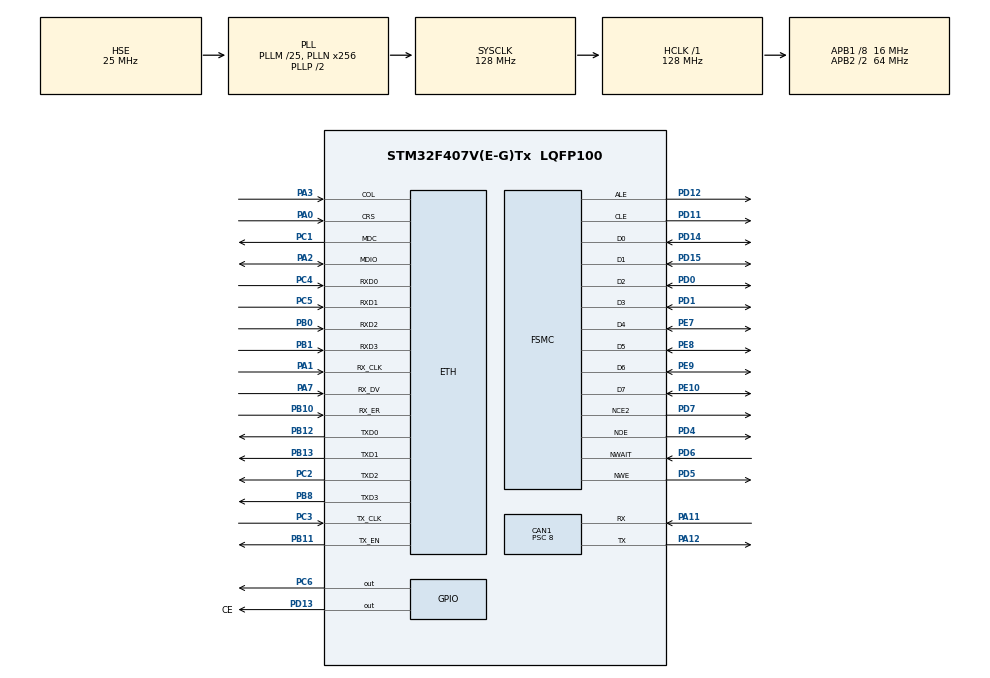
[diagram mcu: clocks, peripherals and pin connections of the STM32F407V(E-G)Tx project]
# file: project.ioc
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CAN1.BS1=CAN_BS1_13TQ
CAN1.BS2=CAN_BS2_2TQ
CAN1.CalculateTimeQuantum=500.0
CAN1.Mode=CAN_MODE_NORMAL
CAN1.NART=DISABLE
CAN1.Prescaler=8
ETH.AutoNegotiation=ETH_AUTONEGOTIATION_DISABLE
ETH.DuplexMode=ETH_MODE_HALFDUPLEX
ETH.MediaInterface=ETH_MEDIA_INTERFACE_MII
ETH.PHY_DUPLEX_STATUS=0x0010
ETH.PHY_Name_MII=userPHY
ETH.PHY_SPEED_STATUS=0x0004
ETH.PHY_SR=0x1F
ETH.PhyAddress=1
ETH.Speed=ETH_SPEED_10M
FREERTOS.Tasks01=defaultTask,0,256,StartDefaultTask,Default,NULL,Dynamic,NULL,NULL;canTask,-3,512,StartCanTask,Default,NULL,Dynamic,NULL,NULL
FREERTOS.configTOTAL_HEAP_SIZE=32768
FSMC.AttributeSpaceHiZSetupTime1=0x1
FSMC.AttributeSpaceHoldSetupTime1=0x2
FSMC.AttributeSpaceSetupTime1=0x1
FSMC.AttributeSpaceWaitSetupTime1=0x3
FSMC.CommonSpaceHiZSetupTime1=0x1
FSMC.CommonSpaceHoldSetupTime1=0x2
FSMC.CommonSpaceSetupTime1=0x1
FSMC.CommonSpaceWaitSetupTime1=0x3
FSMC.ECCPageSize1=FSMC_NAND_ECC_PAGE_SIZE_512BYTE
FSMC.NandBlockNbr1=0x400
FSMC.NandBlockSize1=0x40
FSMC.NandPageSize1=0x800
FSMC.NandSpareAreaSize1=0x40
LWIP.GATEWAY_ADDRESS=192.168.005.001
LWIP.IP_ADDRESS=192.168.005.085
LWIP.LWIP_DHCP=0
LWIP.LWIP_TCP=0
LWIP.MEMP_NUM_PBUF=24
LWIP.MEMP_NUM_TCP_PCB=1
LWIP.MEMP_NUM_TCP_PCB_LISTEN=1
LWIP.MEMP_NUM_TCP_SEG=4
LWIP.MEMP_NUM_UDP_PCB=6
LWIP.MEM_SIZE=10000
LWIP.NETMASK_ADDRESS=255.255.255.000
LWIP.Version=v2.0.3_Cube
Mcu.Family=STM32F4
Mcu.Name=STM32F407V(E-G)Tx
Mcu.Package=LQFP100
NVIC.CAN1_RX0_IRQn=true\:5\:0\:true\:false\:true\:true\:true
NVIC.ETH_IRQn=true\:5\:0\:true\:false\:true\:true\:false
NVIC.PriorityGroup=NVIC_PRIORITYGROUP_4
NVIC.TIM1_UP_TIM10_IRQn=true\:0\:0\:false\:false\:true\:false\:false
NVIC.TimeBase=TIM1_UP_TIM10_IRQn
NVIC.TimeBaseIP=TIM1
PA0-WKUP.Mode=MII
PA0-WKUP.Signal=ETH_CRS
PA1.Mode=MII
PA1.Signal=ETH_RX_CLK
PA11.GPIO_PuPd=GPIO_PULLUP
PA11.Mode=Master
PA11.Signal=CAN1_RX
PA12.Mode=Master
PA12.Signal=CAN1_TX
PA2.Mode=MII
PA2.Signal=ETH_MDIO
PA3.Mode=MII
PA3.Signal=ETH_COL
PA7.Mode=MII
PA7.Signal=ETH_RX_DV
PB0.Mode=MII
PB0.Signal=ETH_RXD2
PB1.Mode=MII
PB1.Signal=ETH_RXD3
PB10.Mode=Activate Rx Err signal
PB10.Signal=ETH_RX_ER
PB11.Mode=MII
PB11.Signal=ETH_TX_EN
PB12.Mode=MII
PB12.Signal=ETH_TXD0
PB13.Mode=MII
PB13.Signal=ETH_TXD1
PB8.Mode=MII
PB8.Signal=ETH_TXD3
PC1.Mode=MII
PC1.Signal=ETH_MDC
PC14-OSC32_IN.Mode=LSE-External-Oscillator
PC14-OSC32_IN.Signal=RCC_OSC32_IN
PC15-OSC32_OUT.Mode=LSE-External-Oscillator
PC15-OSC32_OUT.Signal=RCC_OSC32_OUT
PC2.Mode=MII
PC2.Signal=ETH_TXD2
PC3.Mode=MII
PC3.Signal=ETH_TX_CLK
PC4.Mode=MII
PC4.Signal=ETH_RXD0
PC5.Mode=MII
PC5.Signal=ETH_RXD1
PC6.Signal=GPIO_Output
PD0.GPIO_PuPd=GPIO_PULLUP
PD0.Mode=8b-dmux1
PD0.Signal=FSMC_D2
PD1.GPIO_PuPd=GPIO_PULLUP
PD1.Mode=8b-dmux1
PD1.Signal=FSMC_D3
PD11.GPIO_PuPd=GPIO_PULLUP
PD11.Mode=8b-dmux1
PD11.Signal=FSMC_CLE
PD12.GPIO_PuPd=GPIO_PULLUP
PD12.Mode=8b-dmux1
PD12.Signal=FSMC_ALE
PD13.GPIO_Label=CE
PD13.GPIO_PuPd=GPIO_PULLUP
PD13.Signal=GPIO_Output
PD14.GPIO_PuPd=GPIO_PULLUP
PD14.Mode=8b-dmux1
PD14.Signal=FSMC_D0
PD15.GPIO_PuPd=GPIO_PULLUP
PD15.Mode=8b-dmux1
PD15.Signal=FSMC_D1
PD4.GPIO_PuPd=GPIO_PULLUP
PD4.Mode=8b-dmux1
PD4.Signal=FSMC_NOE
PD5.GPIO_PuPd=GPIO_PULLUP
PD5.Mode=8b-dmux1
PD5.Signal=FSMC_NWE
PD6.GPIO_PuPd=GPIO_PULLUP
PD6.Mode=Wait1
PD6.Signal=FSMC_NWAIT
PD7.GPIO_PuPd=GPIO_PULLUP
PD7.Mode=NandChipSelect2_1
PD7.Signal=FSMC_NCE2
PE10.GPIO_PuPd=GPIO_PULLUP
PE10.Mode=8b-dmux1
PE10.Signal=FSMC_D7
PE7.GPIO_PuPd=GPIO_PULLUP
PE7.Mode=8b-dmux1
PE7.Signal=FSMC_D4
PE8.GPIO_PuPd=GPIO_PULLUP
PE8.Mode=8b-dmux1
PE8.Signal=FSMC_D5
PE9.GPIO_PuPd=GPIO_PULLUP
PE9.Mode=8b-dmux1
PE9.Signal=FSMC_D6
PH0-OSC_IN.Mode=HSE-External-Oscillator
PH0-OSC_IN.Signal=RCC_OSC_IN
PH1-OSC_OUT.Mode=HSE-External-Oscillator
PH1-OSC_OUT.Signal=RCC_OSC_OUT
ProjectManager.HeapSize=0x2000
ProjectManager.StackSize=0x4000
ProjectManager.TargetToolchain=TrueSTUDIO
RCC.48MHZClocksFreq_Value=64000000
RCC.AHBFreq_Value=128000000
RCC.APB1CLKDivider=RCC_HCLK_DIV8
RCC.APB1Freq_Value=16000000
RCC.APB1TimFreq_Value=32000000
RCC.APB2CLKDivider=RCC_HCLK_DIV2
RCC.APB2Freq_Value=64000000
RCC.APB2TimFreq_Value=128000000
RCC.CortexFreq_Value=128000000
RCC.HCLKFreq_Value=128000000
RCC.HSE_VALUE=25000000
RCC.HSI_VALUE=16000000
RCC.PLLM=25
RCC.PLLN=256
RCC.PLLSourceVirtual=RCC_PLLSOURCE_HSE
RCC.RCC_RTC_Clock_Source=RCC_RTCCLKSOURCE_LSE
RCC.RCC_RTC_Clock_SourceVirtual=RCC_RTCCLKSOURCE_HSE_DIV25
RCC.RCC_RTC_Clock_Source_FROM_HSE=RCC_RTCCLKSOURCE_HSE_DIV25
RCC.SYSCLKFreq_VALUE=128000000
RCC.SYSCLKSource=RCC_SYSCLKSOURCE_PLLCLK
RCC.VCOOutputFreq_Value=256000000
RTC.AsynchPrediv=127
RTC.SynchPrediv=255
VP_FREERTOS_VS_ENABLE.Mode=Enabled
VP_LWIP_VS_Enabled.Mode=Enabled
VP_RTC_VS_RTC_Activate.Mode=RTC_Enabled
VP_SYS_VS_tim1.Mode=TIM1
board=custom

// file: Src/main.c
/* USER CODE BEGIN Header */
/**
  ******************************************************************************
  * @file           : main.c
  * @brief          : Main program body
  ******************************************************************************
  * This notice applies to any and all portions of this file
  * that are not between comment pairs USER CODE BEGIN and
  * USER CODE END. Other portions of this file, whether
  * inserted by the user or by software development tools
  * are owned by their respective copyright owners.
  *
  * Copyright (c) 2019 STMicroelectronics International N.V.
  * All rights reserved.
  *
  * Redistribution and use in source and binary forms, with or without
  * modification, are permitted, provided that the following conditions are met:
  *
  * 1. Redistribution of source code must retain the above copyright notice,
  *    this list of conditions and the following disclaimer.
  * 2. Redistributions in binary form must reproduce the above copyright notice,
  *    this list of conditions and the following disclaimer in the documentation
  *    and/or other materials provided with the distribution.
  * 3. Neither the name of STMicroelectronics nor the names of other
  *    contributors to this software may be used to endorse or promote products
  *    derived from this software without specific written permission.
  * 4. This software, including modifications and/or derivative works of this
  *    software, must execute solely and exclusively on microcontroller or
  *    microprocessor devices manufactured by or for STMicroelectronics.
  * 5. Redistribution and use of this software other than as permitted under
  *    this license is void and will automatically terminate your rights under
  *    this license.
  *
  * THIS SOFTWARE IS PROVIDED BY STMICROELECTRONICS AND CONTRIBUTORS "AS IS"
  * AND ANY EXPRESS, IMPLIED OR STATUTORY WARRANTIES, INCLUDING, BUT NOT
  * LIMITED TO, THE IMPLIED WARRANTIES OF MERCHANTABILITY, FITNESS FOR A
  * PARTICULAR PURPOSE AND NON-INFRINGEMENT OF THIRD PARTY INTELLECTUAL PROPERTY
  * RIGHTS ARE DISCLAIMED TO THE FULLEST EXTENT PERMITTED BY LAW. IN NO EVENT
  * SHALL STMICROELECTRONICS OR CONTRIBUTORS BE LIABLE FOR ANY DIRECT, INDIRECT,
  * INCIDENTAL, SPECIAL, EXEMPLARY, OR CONSEQUENTIAL DAMAGES (INCLUDING, BUT NOT
  * LIMITED TO, PROCUREMENT OF SUBSTITUTE GOODS OR SERVICES; LOSS OF USE, DATA,
  * OR PROFITS; OR BUSINESS INTERRUPTION) HOWEVER CAUSED AND ON ANY THEORY OF
  * LIABILITY, WHETHER IN CONTRACT, STRICT LIABILITY, OR TORT (INCLUDING
  * NEGLIGENCE OR OTHERWISE) ARISING IN ANY WAY OUT OF THE USE OF THIS SOFTWARE,
  * EVEN IF ADVISED OF THE POSSIBILITY OF SUCH DAMAGE.
  *
  ******************************************************************************
  */
/* USER CODE END Header */

#include "main.h"
#include "cmsis_os.h"
#include "can.h"
#include "lwip.h"
#include "rtc.h"
#include "gpio.h"
#include "fsmc.h"

/* USER CODE BEGIN Includes */

#include "button_led.h"

/* USER CODE END Includes */

void SystemClock_Config(void);
void MX_FREERTOS_Init(void);

int main(void)
{

  /* MCU Configuration--------------------------------------------------------*/

  /* Reset of all peripherals, Initializes the Flash interface and the Systick. */
  HAL_Init();

  /* USER CODE BEGIN Init */

  led_init();

  /* USER CODE END Init */

  /* Configure the system clock */
  SystemClock_Config();

  /* Initialize all configured peripherals */
  MX_GPIO_Init();
  MX_FSMC_Init();
  MX_CAN1_Init();
  MX_RTC_Init();

  /* Call init function for freertos objects (in freertos.c) */
  MX_FREERTOS_Init();

  /* Start scheduler */
  osKernelStart();

  /* We should never get here as control is now taken by the scheduler */

  /* Infinite loop */
  while (1)
  {

  }
}

void SystemClock_Config(void)
{
  RCC_OscInitTypeDef RCC_OscInitStruct = {0};
  RCC_ClkInitTypeDef RCC_ClkInitStruct = {0};
  RCC_PeriphCLKInitTypeDef PeriphClkInitStruct = {0};

  /**Configure the main internal regulator output voltage
  */
  __HAL_RCC_PWR_CLK_ENABLE();
  __HAL_PWR_VOLTAGESCALING_CONFIG(PWR_REGULATOR_VOLTAGE_SCALE1);
  /**Initializes the CPU, AHB and APB busses clocks
  */
  RCC_OscInitStruct.OscillatorType = RCC_OSCILLATORTYPE_HSE|RCC_OSCILLATORTYPE_LSE;
  RCC_OscInitStruct.HSEState = RCC_HSE_ON;
  RCC_OscInitStruct.LSEState = RCC_LSE_ON;
  RCC_OscInitStruct.PLL.PLLState = RCC_PLL_ON;
  RCC_OscInitStruct.PLL.PLLSource = RCC_PLLSOURCE_HSE;
  RCC_OscInitStruct.PLL.PLLM = 25;
  RCC_OscInitStruct.PLL.PLLN = 256;
  RCC_OscInitStruct.PLL.PLLP = RCC_PLLP_DIV2;
  RCC_OscInitStruct.PLL.PLLQ = 4;
  if (HAL_RCC_OscConfig(&RCC_OscInitStruct) != HAL_OK)
  {
    Error_Handler();
  }
  /**Initializes the CPU, AHB and APB busses clocks
  */
  RCC_ClkInitStruct.ClockType = RCC_CLOCKTYPE_HCLK|RCC_CLOCKTYPE_SYSCLK
                              |RCC_CLOCKTYPE_PCLK1|RCC_CLOCKTYPE_PCLK2;
  RCC_ClkInitStruct.SYSCLKSource = RCC_SYSCLKSOURCE_PLLCLK;
  RCC_ClkInitStruct.AHBCLKDivider = RCC_SYSCLK_DIV1;
  RCC_ClkInitStruct.APB1CLKDivider = RCC_HCLK_DIV8;
  RCC_ClkInitStruct.APB2CLKDivider = RCC_HCLK_DIV2;

  if (HAL_RCC_ClockConfig(&RCC_ClkInitStruct, FLASH_LATENCY_4) != HAL_OK)
  {
    Error_Handler();
  }
  PeriphClkInitStruct.PeriphClockSelection = RCC_PERIPHCLK_RTC;
  PeriphClkInitStruct.RTCClockSelection = RCC_RTCCLKSOURCE_LSE;
  if (HAL_RCCEx_PeriphCLKConfig(&PeriphClkInitStruct) != HAL_OK)
  {
    Error_Handler();
  }
}

void HAL_TIM_PeriodElapsedCallback(TIM_HandleTypeDef *htim)
{
  if (htim->Instance == TIM1) {
    HAL_IncTick();
  }
}

void Error_Handler(void)
{
}

/************************ (C) COPYRIGHT STMicroelectronics *****END OF FILE****/

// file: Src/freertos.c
/* USER CODE BEGIN Header */
/**
  ******************************************************************************
  * File Name          : freertos.c
  * Description        : Code for freertos applications
  ******************************************************************************
  * This notice applies to any and all portions of this file
  * that are not between comment pairs USER CODE BEGIN and
  * USER CODE END. Other portions of this file, whether
  * inserted by the user or by software development tools
  * are owned by their respective copyright owners.
  *
  * Copyright (c) 2019 STMicroelectronics International N.V.
  * All rights reserved.
  *
  * Redistribution and use in source and binary forms, with or without
  * modification, are permitted, provided that the following conditions are met:
  *
  * 1. Redistribution of source code must retain the above copyright notice,
  *    this list of conditions and the following disclaimer.
  * 2. Redistributions in binary form must reproduce the above copyright notice,
  *    this list of conditions and the following disclaimer in the documentation
  *    and/or other materials provided with the distribution.
  * 3. Neither the name of STMicroelectronics nor the names of other
  *    contributors to this software may be used to endorse or promote products
  *    derived from this software without specific written permission.
  * 4. This software, including modifications and/or derivative works of this
  *    software, must execute solely and exclusively on microcontroller or
  *    microprocessor devices manufactured by or for STMicroelectronics.
  * 5. Redistribution and use of this software other than as permitted under
  *    this license is void and will automatically terminate your rights under
  *    this license.
  *
  * THIS SOFTWARE IS PROVIDED BY STMICROELECTRONICS AND CONTRIBUTORS "AS IS"
  * AND ANY EXPRESS, IMPLIED OR STATUTORY WARRANTIES, INCLUDING, BUT NOT
  * LIMITED TO, THE IMPLIED WARRANTIES OF MERCHANTABILITY, FITNESS FOR A
  * PARTICULAR PURPOSE AND NON-INFRINGEMENT OF THIRD PARTY INTELLECTUAL PROPERTY
  * RIGHTS ARE DISCLAIMED TO THE FULLEST EXTENT PERMITTED BY LAW. IN NO EVENT
  * SHALL STMICROELECTRONICS OR CONTRIBUTORS BE LIABLE FOR ANY DIRECT, INDIRECT,
  * INCIDENTAL, SPECIAL, EXEMPLARY, OR CONSEQUENTIAL DAMAGES (INCLUDING, BUT NOT
  * LIMITED TO, PROCUREMENT OF SUBSTITUTE GOODS OR SERVICES; LOSS OF USE, DATA,
  * OR PROFITS; OR BUSINESS INTERRUPTION) HOWEVER CAUSED AND ON ANY THEORY OF
  * LIABILITY, WHETHER IN CONTRACT, STRICT LIABILITY, OR TORT (INCLUDING
  * NEGLIGENCE OR OTHERWISE) ARISING IN ANY WAY OUT OF THE USE OF THIS SOFTWARE,
  * EVEN IF ADVISED OF THE POSSIBILITY OF SUCH DAMAGE.
  *
  ******************************************************************************
  */
/* USER CODE END Header */

#include "FreeRTOS.h"
#include "task.h"
#include "main.h"
#include "cmsis_os.h"

/* USER CODE BEGIN Includes */

#include "udp_server.h"
#include "frame_stack.h"
#include "button_led.h"

/* USER CODE END Includes */

/* USER CODE BEGIN Variables */

extern unsigned short sys_tmr;

extern CAN_HandleTypeDef hcan1;
static uint8_t				 can_frame[40];
static uint8_t				 ext_can_frame[40];
static uint8_t				 ext_can_frame_id[256][40];
static uint8_t               TxData[8];
static CAN_TxHeaderTypeDef   TxHeader;
static uint32_t              TxMailbox=0;
static CAN_RxHeaderTypeDef   RxHeader;
static uint8_t               RxData[8];

unsigned short gate_id = 0xFE;
unsigned char device_id = 0xFF;
unsigned char from_id = 0x00;

/* USER CODE END Variables */
osThreadId defaultTaskHandle;
osThreadId canTaskHandle;

/* USER CODE BEGIN FunctionPrototypes */

static void initCANFilter() {
	CAN_FilterTypeDef  sFilterConfig;

	sFilterConfig.FilterBank = 0;
	sFilterConfig.FilterMode = CAN_FILTERMODE_IDMASK;
	sFilterConfig.FilterScale = CAN_FILTERSCALE_32BIT;
	sFilterConfig.FilterIdHigh = 0x0000;
	sFilterConfig.FilterIdLow = 0x0000;
	sFilterConfig.FilterMaskIdHigh = 0x0000;
	sFilterConfig.FilterMaskIdLow = 0x0000;
	sFilterConfig.FilterFIFOAssignment = CAN_RX_FIFO0;
	sFilterConfig.FilterActivation = ENABLE;
	sFilterConfig.SlaveStartFilterBank = 14;

	HAL_CAN_ConfigFilter(&hcan1, &sFilterConfig);
}

static void send_full_frame(uint8_t len, uint8_t *ptr) {
	uint8_t i=len;
	uint8_t cur_pckt = 1;
	uint8_t pckt_cnt = 0;

	while(i) {
		pckt_cnt++;
		if(i<=6) {i=0;}
		else i-=7;
	}
	i=1;

	while(len>0) {
		TxHeader.StdId = gate_id;
		TxHeader.ExtId = 0;
		TxHeader.RTR = CAN_RTR_DATA;
		TxHeader.IDE = CAN_ID_STD;
		TxHeader.TransmitGlobalTime = DISABLE;
		if(len<=6) { // last packet
			TxHeader.DLC = 2+len;
			TxData[0] = (cur_pckt&0x0F)|((pckt_cnt&0x0F)<<4); // current packet number and packets cnt
			TxData[1] = device_id;
			for(i=0;i<len;i++) TxData[i+2] = ptr[(cur_pckt-1)*7+i];
			while(HAL_CAN_GetTxMailboxesFreeLevel(&hcan1) == 0) {osDelay(1);}
			HAL_CAN_AddTxMessage(&hcan1, &TxHeader, TxData, &TxMailbox);
			cur_pckt++;
			len=0;
		}else {
			TxHeader.DLC = 0x08;
			TxData[0] = (cur_pckt&0x0F)|((pckt_cnt&0x0F)<<4); // current packet number and packets cnt
			for(i=0;i<7;i++) TxData[i+1] = ptr[(cur_pckt-1)*7+i];
			while(HAL_CAN_GetTxMailboxesFreeLevel(&hcan1) == 0) {osDelay(1);}
			HAL_CAN_AddTxMessage(&hcan1, &TxHeader, TxData, &TxMailbox);
			cur_pckt++;
			len-=7;
		}
	}
	//HAL_GPIO_TogglePin(GREEN_LED_GPIO_Port,GREEN_LED_Pin);
}

static void send_frame(uint8_t num, uint8_t *ptr) {
	static uint32_t i;
	TxHeader.StdId = gate_id;
	TxHeader.ExtId = 0;
	TxHeader.RTR = CAN_RTR_DATA;
	TxHeader.IDE = CAN_ID_STD;
	TxHeader.TransmitGlobalTime = DISABLE;
	switch(num) {
	case 1:
		TxHeader.DLC = 0x08;
		TxData[0] = 0x01;
		for(i=0;i<7;i++) TxData[i+1] = ptr[i];
		//while(HAL_CAN_GetTxMailboxesFreeLevel(&hcan1) == 0) {osDelay(1);}
		HAL_CAN_AddTxMessage(&hcan1, &TxHeader, TxData, &TxMailbox);
		break;
	case 2:
		TxHeader.DLC = 0x08;
		TxData[0] = 0x02;
		for(i=0;i<7;i++) TxData[i+1] = ptr[i+7];
		//while(HAL_CAN_GetTxMailboxesFreeLevel(&hcan1) == 0) {osDelay(1);}
		HAL_CAN_AddTxMessage(&hcan1, &TxHeader, TxData, &TxMailbox);
		break;
	case 3:
		TxHeader.DLC = 0x08;
		TxData[0] = 0x03;
		for(i=0;i<6;i++) TxData[i+1] = ptr[i+14];
		TxData[7] = device_id;
		//while(HAL_CAN_GetTxMailboxesFreeLevel(&hcan1) == 0) {osDelay(1);}
		HAL_CAN_AddTxMessage(&hcan1, &TxHeader, TxData, &TxMailbox);
		break;
	}
}

/* USER CODE END FunctionPrototypes */

void StartDefaultTask(void const * argument);
void StartCanTask(void const * argument);

extern void MX_LWIP_Init(void);
void MX_FREERTOS_Init(void); /* (MISRA C 2004 rule 8.1) */

void MX_FREERTOS_Init(void) {

  /* Create the thread(s) */
  /* definition and creation of defaultTask */
  osThreadDef(defaultTask, StartDefaultTask, osPriorityNormal, 0, 256);
  defaultTaskHandle = osThreadCreate(osThread(defaultTask), NULL);

  /* definition and creation of canTask */
  osThreadDef(canTask, StartCanTask, osPriorityIdle, 0, 512);
  canTaskHandle = osThreadCreate(osThread(canTask), NULL);

}

void StartDefaultTask(void const * argument)
{
  /* init code for LWIP */
  MX_LWIP_Init();

  /* USER CODE BEGIN StartDefaultTask */

  udp_server_init();

  /* Infinite loop */
  for(;;)
  {
	  //toggle_first_led(GREEN);
	  osDelay(100);
  }
  /* USER CODE END StartDefaultTask */
}

void StartCanTask(void const * argument)
{
  /* USER CODE BEGIN StartCanTask */
	static unsigned char cnt = 0;
	static unsigned char length = 0;

	initCANFilter();
	HAL_CAN_Start(&hcan1);
	if (HAL_CAN_ActivateNotification(&hcan1, CAN_IT_RX_FIFO0_MSG_PENDING) != HAL_OK) {
	  Error_Handler();
	}

	init_frames();

  /* Infinite loop */
  for(;;)
  {
	  if(sys_tmr>=20) {
		  sys_tmr = 0;
		  length = get_frame(can_frame);
		  if(length) {
			  send_full_frame(length,can_frame);

		  }else toggle_second_led(RED);
	  }
	  /*if(cnt) cnt--;
	  if(cnt==0) {
		  length = get_frame(can_frame);
		  if(length) {
			  cnt=20;
			  send_full_frame(length,can_frame);
			  //toggle_second_led(GREEN);
		  }//else toggle_second_led(RED);
	  }*/
	  osDelay(1);
  }
  /* USER CODE END StartCanTask */
}

/* USER CODE BEGIN Application */

void HAL_CAN_RxFifo0MsgPendingCallback(CAN_HandleTypeDef *hcan)
{
	static uint8_t i = 0;
	/*
	if(HAL_CAN_GetRxFifoFillLevel(&hcan1, CAN_RX_FIFO0)) {

	  if(HAL_CAN_GetRxMessage(&hcan1, CAN_RX_FIFO0, &RxHeader, RxData) == HAL_OK) {
		  if(RxData[0]==3 && RxHeader.DLC==8) toggle_second_led(GREEN);

		  if(RxData[0]==1) {for(i=0;i<7;i++) ext_can_frame[i]=RxData[i+1];}
		  else if(RxData[0]==2) {for(i=0;i<7;i++) ext_can_frame[i+7]=RxData[i+1];}
		  else if(RxData[0]==3) {
			  for(i=0;i<6;i++) ext_can_frame[i+14]=RxData[i+1];
			  add_can_frame(ext_can_frame);
			  from_id = RxHeader.StdId;
		  }
	  }
  }*/
	static uint8_t cur_num = 0;
	static uint8_t cnt = 0;
	static uint8_t length = 0;
	if(HAL_CAN_GetRxFifoFillLevel(&hcan1, CAN_RX_FIFO0)) {

	  if(HAL_CAN_GetRxMessage(&hcan1, CAN_RX_FIFO0, &RxHeader, RxData) == HAL_OK) {

		  cur_num = RxData[0] & 0x0F;
		  cnt = RxData[0] >> 4;
		  if(cur_num==cnt) {
			  for(i=0;i<RxHeader.DLC-2;i++) ext_can_frame_id[RxHeader.StdId][(cur_num-1)*7+i]=RxData[i+2];
			  length = (cnt-1)*7+RxHeader.DLC-2;
			  for(i=0;i<length;i++) ext_can_frame[i]=ext_can_frame_id[RxHeader.StdId][i];
			  add_can_frame(ext_can_frame,length);
			  from_id = RxHeader.StdId;

		  }else {
			  for(i=0;i<7;i++) ext_can_frame_id[RxHeader.StdId][(cur_num-1)*7+i]=RxData[i+1];
		  }
	  }
  }
}

/* USER CODE END Application */

/************************ (C) COPYRIGHT STMicroelectronics *****END OF FILE****/
